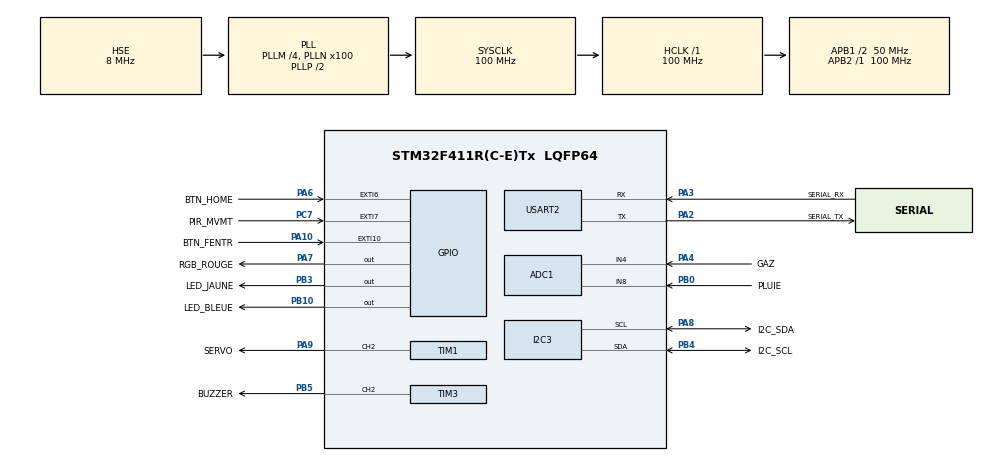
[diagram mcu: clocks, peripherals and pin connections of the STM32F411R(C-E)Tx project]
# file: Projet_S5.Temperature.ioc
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ADC1.Channel-0\#ChannelRegularConversion=ADC_CHANNEL_4
ADC1.Channel-1\#ChannelRegularConversion=ADC_CHANNEL_8
ADC1.DMAContinuousRequests=ENABLE
ADC1.ExternalTrigConv=ADC_EXTERNALTRIGCONV_T2_TRGO
ADC1.NbrOfConversion=2
ADC1.NbrOfConversionFlag=1
ADC1.Rank-0\#ChannelRegularConversion=1
ADC1.Rank-1\#ChannelRegularConversion=2
ADC1.SamplingTime-0\#ChannelRegularConversion=ADC_SAMPLETIME_3CYCLES
ADC1.SamplingTime-1\#ChannelRegularConversion=ADC_SAMPLETIME_3CYCLES
ADC1.ScanConvMode=ENABLE
ADC1.master=1
Dma.ADC1.0.Direction=DMA_PERIPH_TO_MEMORY
Dma.ADC1.0.FIFOMode=DMA_FIFOMODE_DISABLE
Dma.ADC1.0.Instance=DMA2_Stream0
Dma.ADC1.0.MemDataAlignment=DMA_MDATAALIGN_HALFWORD
Dma.ADC1.0.MemInc=DMA_MINC_ENABLE
Dma.ADC1.0.Mode=DMA_CIRCULAR
Dma.ADC1.0.PeriphDataAlignment=DMA_PDATAALIGN_HALFWORD
Dma.ADC1.0.PeriphInc=DMA_PINC_DISABLE
Dma.ADC1.0.Priority=DMA_PRIORITY_LOW
Dma.Request0=ADC1
Mcu.Family=STM32F4
Mcu.Name=STM32F411R(C-E)Tx
Mcu.Package=LQFP64
NVIC.ADC_IRQn=true\:0\:0\:false\:false\:true\:true\:true\:true
NVIC.DMA2_Stream0_IRQn=true\:0\:0\:false\:false\:true\:false\:true\:true
NVIC.EXTI15_10_IRQn=true\:0\:0\:false\:false\:true\:true\:true\:true
NVIC.EXTI9_5_IRQn=true\:0\:0\:false\:false\:true\:true\:true\:true
NVIC.PriorityGroup=NVIC_PRIORITYGROUP_4
NVIC.TIM2_IRQn=true\:0\:0\:false\:false\:true\:true\:true\:true
NVIC.TIM5_IRQn=true\:0\:0\:false\:false\:true\:true\:true\:true
PA10.GPIO_Label=BTN_FENTR
PA10.GPIO_ModeDefaultEXTI=GPIO_MODE_IT_RISING
PA10.GPIO_PuPd=GPIO_PULLDOWN
PA10.Signal=GPXTI10
PA13.Mode=Serial_Wire
PA13.Signal=SYS_JTMS-SWDIO
PA14.Mode=Serial_Wire
PA14.Signal=SYS_JTCK-SWCLK
PA2.GPIO_Label=SERIAL_TX
PA2.Mode=Asynchronous
PA2.Signal=USART2_TX
PA3.GPIO_Label=SERIAL_RX
PA3.Mode=Asynchronous
PA3.Signal=USART2_RX
PA4.GPIO_Label=GAZ
PA4.Signal=ADCx_IN4
PA6.GPIO_Label=BTN_HOME
PA6.GPIO_ModeDefaultEXTI=GPIO_MODE_IT_RISING
PA6.GPIO_PuPd=GPIO_PULLDOWN
PA6.Signal=GPXTI6
PA7.GPIO_Label=RGB_ROUGE
PA7.GPIO_PuPd=GPIO_NOPULL
PA7.Signal=GPIO_Output
PA8.GPIO_Label=I2C_SDA
PA8.Mode=I2C
PA8.Signal=I2C3_SCL
PA9.GPIO_Label=SERVO
PA9.Signal=S_TIM1_CH2
PB0.GPIO_Label=PLUIE
PB0.Signal=ADCx_IN8
PB10.GPIO_Label=LED_BLEUE
PB10.Signal=GPIO_Output
PB3.GPIO_Label=LED_JAUNE
PB3.GPIO_PuPd=GPIO_NOPULL
PB3.Signal=GPIO_Output
PB4.GPIO_Label=I2C_SCL
PB4.Mode=I2C
PB4.Signal=I2C3_SDA
PB5.GPIO_Label=BUZZER
PB5.Signal=S_TIM3_CH2
PC7.GPIO_Label=PIR_MVMT
PC7.GPIO_ModeDefaultEXTI=GPIO_MODE_IT_RISING
PC7.GPIO_PuPd=GPIO_PULLDOWN
PC7.Signal=GPXTI7
PH0\ -\ OSC_IN.Mode=HSE-External-Oscillator
PH0\ -\ OSC_IN.Signal=RCC_OSC_IN
PH1\ -\ OSC_OUT.Mode=HSE-External-Oscillator
PH1\ -\ OSC_OUT.Signal=RCC_OSC_OUT
ProjectManager.HeapSize=0x200
ProjectManager.StackSize=0x400
ProjectManager.TargetToolchain=STM32CubeIDE
RCC.48MHZClocksFreq_Value=50000000
RCC.AHBFreq_Value=100000000
RCC.APB1CLKDivider=RCC_HCLK_DIV2
RCC.APB1Freq_Value=50000000
RCC.APB1TimFreq_Value=100000000
RCC.APB2Freq_Value=100000000
RCC.APB2TimFreq_Value=100000000
RCC.CortexFreq_Value=100000000
RCC.HCLKFreq_Value=100000000
RCC.HSE_VALUE=8000000
RCC.HSI_VALUE=16000000
RCC.LSE_VALUE=32768
RCC.PLLM=4
RCC.PLLN=100
RCC.PLLSourceVirtual=RCC_PLLSOURCE_HSE
RCC.SYSCLKFreq_VALUE=100000000
RCC.SYSCLKSource=RCC_SYSCLKSOURCE_PLLCLK
RCC.VCOOutputFreq_Value=200000000
SH.ADCx_IN4.0=ADC1_IN4,IN4
SH.ADCx_IN8.0=ADC1_IN8,IN8
SH.S_TIM1_CH2.0=TIM1_CH2,PWM Generation2 CH2
SH.S_TIM3_CH2.0=TIM3_CH2,PWM Generation2 CH2
TIM1.Channel-PWM\ Generation2\ CH2=TIM_CHANNEL_2
TIM1.Period=50000-1
TIM1.Prescaler=40-1
TIM1.Pulse-PWM\ Generation2\ CH2=3750
TIM2.Period=20000-1
TIM2.Prescaler=10000-1
TIM2.TIM_MasterOutputTrigger=TIM_TRGO_UPDATE
TIM3.Channel-PWM\ Generation2\ CH2=TIM_CHANNEL_2
TIM3.OCMode_PWM-PWM\ Generation2\ CH2=TIM_OCMODE_PWM1
TIM3.Period=56818-1
TIM3.Prescaler=4-1
TIM3.Pulse-PWM\ Generation2\ CH2=28409
TIM5.Period=500-1
TIM5.Prescaler=10000-1
USART2.VirtualMode=VM_ASYNC
VP_TIM1_VS_ClockSourceINT.Mode=Internal
VP_TIM2_VS_ClockSourceINT.Mode=Internal
VP_TIM3_VS_ClockSourceINT.Mode=Internal
VP_TIM5_VS_ClockSourceINT.Mode=Internal
board=custom

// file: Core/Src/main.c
/* USER CODE BEGIN Header */
/**
  ******************************************************************************
  * @file           : main.c
  * @brief          : Main program body
  ******************************************************************************
  * @attention
  *
  * Copyright (c) 2026 STMicroelectronics.
  * All rights reserved.
  *
  * This software is licensed under terms that can be found in the LICENSE file
  * in the root directory of this software component.
  * If no LICENSE file comes with this software, it is provided AS-IS.
  *
  ******************************************************************************
  */
/* USER CODE END Header */
#include "main.h"
#include "adc.h"
#include "dma.h"
#include "i2c.h"
#include "tim.h"
#include "usart.h"
#include "gpio.h"

/* USER CODE BEGIN Includes */
#include <stdio.h>
#include "stdbool.h"
#include "tmp102.h"
/* USER CODE END Includes */

/* USER CODE BEGIN PTD */
typedef struct {
    GPIO_TypeDef *port;
    uint16_t pin;
    bool state;
} LED_t;
/* USER CODE END PTD */

/* USER CODE BEGIN PD */

// Liste des pins configurés
//  BTN_FENTR | D2  | PA_10 | EXTI 10 - Rising Edge | PULLUP   | 3V3
//  LED_JAUNE | D3  | PB_3  | GPIO OUTPUT           | NO       | 3V3
//  BUZZER    | D4  | PB_5  | TIMER 3 - CHANNEL 2   | NO       | 3V3
//  I2C_SDA   | D5  | PB_4  | I2C3 - SDA            | NO       | LCD+TEMP -> 5V
//  LED_BLEUE | D6  | PB_10 | GPIO OUTPUT           | NO       | 3V3
//  I2C_SCL   | D7  | PA_8  | I2C3 - SCL            | NO       | LCD+TEMP -> 5V
//  SERVO     | D8  | PA_9  | TIMER 1 - CHANNEL 2   | NO       | 5V
//  PIR_MVMT  | D9  | PC_7  | EXTI 7 - Rising Edge  | PULLDOWN | 3V3
//  RGB_STRIP | D10 | PB_6  | TIMER 4 - CHANNEL 1   | NO       | 5V
//  RGB_ROUGE | D11 | PA_7  | GPIO OUTPUT           | NO       | 3V3
//  BTN_HOME  | D12 | PA_6  | EXTI 6 - Rising Edge  | PULLDOWN | 3V3
//  GAZ       | A2  | PA_4  | ADC 1 - CHANNEL 4     | NO       | 5V
//  PLUIE     | A3  | PB_0  | ADC 1 - CHANNEL 8     | NO       | 5V

#define ADC_CAPTEURS    (&hadc1)
#define BUS_I2C         (&hi2c3)
#define TIMER_CAPTEURS  (&htim2)
#define TIMER_DEBOUNCE  (&htim5)
#define TIMER_SERVO     (&htim1)
#define CANAL_SERVO     TIM_CHANNEL_2
#define TIMER_BUZZER    (&htim3)
#define CANAL_BUZZER    TIM_CHANNEL_2

#define SEUIL_GAZ         2200
#define SEUIL_PLUIE       4000
#define SEUIL_CHALEUR     25
#define SEUIL_FROID       15
#define NBR_CAPTEURS_ADC  2
#define GAZ_ADC_RANK      0
#define PLUIE_ADC_RANK    1

#define FREQ_CYCLE_CAPTEURS 0.5
#define FREQ_CYCLE_DEBOUNCE 20

#define FREQ_TIMER_SERVO  2500000
#define FREQ_CYCLE_SERVO  50
#define SERVO_0_DEG_MS    0.5
#define SERVO_180_DEG_MS  2.5

#define FREQ_TIMER_BUZZER             25000000
#define FREQ_CYCLE_ALARME             FREQ_CYCLE_DEBOUNCE
#define FREQ_BLINK_ALARME_GAZ         10
#define FREQ_BLINK_ALARME_INTRUSION   2
#define FREQ_BUZZER_ALARME_GAZ        440
#define FREQ_BUZZER_ALARME_INTRUSION  384

// Maison
#define HOME                true
#define AWAY                false
// Fenetre
#define OUVERTE             true
#define FERMEE              false
#define ANGLE_SERVO_OUVERT  120 // ATTENTION maximum 120° sinon ça casse
#define ANGLE_SERVO_FERME   0   // Montage effectué avec 0° fenetre fermee

/* USER CODE END PD */

/* USER CODE BEGIN PV */
volatile LED_t  led_capteurs                = {LED_BLEUE_GPIO_Port, LED_BLEUE_Pin, false};
volatile LED_t  led_alarme_gaz              = {RGB_ROUGE_GPIO_Port, RGB_ROUGE_Pin, false};
volatile LED_t  led_alarme_intrusion        = {LED_JAUNE_GPIO_Port, LED_JAUNE_Pin, false};
volatile bool   buzzer                      = false;
volatile bool   fenetre                     = false;

volatile bool   debouncing_bouton_home      = false;
volatile bool   debouncing_bouton_fenetre   = false;
volatile bool   bouton_home_appuye          = false;
volatile bool   bouton_fenetre_appuye       = false;

volatile bool   timer_debounce_flag         = false;
volatile bool   timer_capteurs_flag         = false;
volatile bool   fin_mesure_ADC_flag         = false;
volatile int    blink_counter_alarm         = 0;

volatile bool   mode                        = HOME;
volatile bool   presence_detectee           = false;
volatile bool   pluie_detectee              = false;
volatile bool   alarme_intrusion            = false;
volatile bool   alarme_gaz                  = false;

volatile uint16_t adc_valeurs[NBR_CAPTEURS_ADC];
TMP102_t thermometre;
/* USER CODE END PV */

void SystemClock_Config(void);

/* USER CODE BEGIN 0 */

void initialiser_thermometre(void)
{
    TMP102_init_default(&thermometre);

    thermometre.busI2C                = BUS_I2C;
    thermometre.address               = TMP102_I2C_ADDR_GND;
    thermometre.config.Mode           = TMP102_MODE_SHUTDOWN;
    thermometre.config.ExtendedMode   = TMP102_EXTENDED_OFF;

    if (TMP102_apply_config(&thermometre)) {
        printf("Capteur TMP102 configuré\r\n");
    } else {
        printf("Erreur d'initialisation du capteur TMP102\r\n");
    }
}

void angle_servo(int angle)
{
	int pulse_tics =
  (
    (
      (angle / 180.0)
      *
      (SERVO_180_DEG_MS - SERVO_0_DEG_MS) / 1000.0
    )
    +
    (SERVO_0_DEG_MS / 1000.0)
  )
  * FREQ_TIMER_SERVO;

	__HAL_TIM_SET_COMPARE(TIMER_SERVO, CANAL_SERVO, pulse_tics);
}

void commande_fenetre()
{
	if (fenetre == OUVERTE){
		angle_servo(ANGLE_SERVO_OUVERT);
	}
	if (fenetre == FERMEE){
		angle_servo(ANGLE_SERVO_FERME);
	}
}

void commande_led()
{
  if (led_capteurs.state) {
    HAL_GPIO_WritePin(led_capteurs.port, led_capteurs.pin, 1);
  } else {
    HAL_GPIO_WritePin(led_capteurs.port, led_capteurs.pin, 0);
  }
  if (led_alarme_gaz.state) {
    HAL_GPIO_WritePin(led_alarme_gaz.port, led_alarme_gaz.pin, 1);
  } else {
    HAL_GPIO_WritePin(led_alarme_gaz.port, led_alarme_gaz.pin, 0);
  }
  if (led_alarme_intrusion.state) {
    HAL_GPIO_WritePin(led_alarme_intrusion.port, led_alarme_intrusion.pin, 1);
  } else {
    HAL_GPIO_WritePin(led_alarme_intrusion.port, led_alarme_intrusion.pin, 0);
  }
}

void commande_buzzer()
{
	if (buzzer) {
	  HAL_TIM_PWM_Start(TIMER_BUZZER, CANAL_BUZZER);
	} else {
	  HAL_TIM_PWM_Stop(TIMER_BUZZER, CANAL_BUZZER);
	}
}

void frequence_buzzer(int frequence)
{
	int periode_tics = (double)FREQ_TIMER_BUZZER/frequence;
	int pulse_tics   = periode_tics/2;
	__HAL_TIM_SET_AUTORELOAD(TIMER_BUZZER, periode_tics);
	__HAL_TIM_SET_COMPARE(TIMER_BUZZER, CANAL_BUZZER, pulse_tics);
}

void evaluer_gaz()
{
  int gaz_valeur = adc_valeurs[GAZ_ADC_RANK];
	if (gaz_valeur >= SEUIL_GAZ) {
    printf("Gaz detecte !\r\n");
		alarme_gaz = true;
	} else {
		alarme_gaz = false;
	}
  printf("                                      GAZ   = %d\r\n", gaz_valeur);
}

void evaluer_pluie()
{
  int pluie_valeur = adc_valeurs[PLUIE_ADC_RANK];
	if (pluie_valeur >= SEUIL_PLUIE) {
		printf("Pluie detecte !\r\n");
		pluie_detectee = true;
	} else {
		pluie_detectee = false;
	}
	printf("                                      PLUIE = %d\r\n", pluie_valeur);
}

void evaluer_temperature()
{
    float temperature;

    if (TMP102_get_temperature(&thermometre, &temperature))
    {
        printf("                                      TEMP  = %s°C\r\n", TMP102_temperature_to_string(temperature, 2));
    }
    else
    {
        printf("                                      TEMP  = ERREUR LECTURE\r\n");
    }

    if (temperature >= SEUIL_CHALEUR) {
      printf("Il fait chaud !\r\n");
    }
    if (temperature <= SEUIL_FROID) {
      printf("Il fait froid !\r\n");
    }
}
void debounce_filter()
{
	if (debouncing_bouton_home && !HAL_GPIO_ReadPin(BTN_HOME_GPIO_Port, BTN_HOME_Pin)) {
		bouton_home_appuye = true;
		debouncing_bouton_home = false;
	}

	if (debouncing_bouton_fenetre && !HAL_GPIO_ReadPin(BTN_FENTR_GPIO_Port, BTN_FENTR_Pin)) {
		bouton_fenetre_appuye = true;
		debouncing_bouton_fenetre = false;
	}
}

void update_cycle_alarme()
{
  // Aucune alarme
  if (!alarme_gaz && !alarme_intrusion) {
    buzzer = false;
    led_alarme_intrusion.state = false;
    led_alarme_gaz.state = false;
    blink_counter_alarm = 0;
    return;
  }

  blink_counter_alarm++;

  // Alarme GAZ
  if (alarme_gaz && !alarme_intrusion) {
    frequence_buzzer(FREQ_BUZZER_ALARME_GAZ);
    led_alarme_intrusion.state = false;

    if (blink_counter_alarm >= FREQ_CYCLE_ALARME / (2 * FREQ_BLINK_ALARME_GAZ)) {
      led_alarme_gaz.state = !led_alarme_gaz.state;
      buzzer = led_alarme_gaz.state;
      blink_counter_alarm = 0;
    }
  }

  // Alarme INTRUSION
  else if (!alarme_gaz && alarme_intrusion) {
    frequence_buzzer(FREQ_BUZZER_ALARME_INTRUSION);
    led_alarme_gaz.state = false;

    if (blink_counter_alarm >= FREQ_CYCLE_ALARME / (2 * FREQ_BLINK_ALARME_INTRUSION)) {
      led_alarme_intrusion.state = !led_alarme_intrusion.state;
      buzzer = led_alarme_intrusion.state;
      blink_counter_alarm = 0;
    }
  }

  // Alarme GAZ + INTRUSION
  else if (alarme_gaz && alarme_intrusion) {
    int half_period_intrusion = FREQ_CYCLE_ALARME / (2 * FREQ_BLINK_ALARME_INTRUSION);
    int full_period_intrusion = FREQ_CYCLE_ALARME / FREQ_BLINK_ALARME_INTRUSION;
    int half_period_gaz = FREQ_CYCLE_ALARME / (2 * FREQ_BLINK_ALARME_GAZ);

    // alarme intrusion en continu, alarme gaz eteinte
    if (blink_counter_alarm <= half_period_intrusion) {
      frequence_buzzer(FREQ_BUZZER_ALARME_INTRUSION);
      led_alarme_gaz.state = false;

      led_alarme_intrusion.state = true;
      buzzer = true;
    // alarme gaz clignote, alarme intrusion eteinte
    } else {
      frequence_buzzer(FREQ_BUZZER_ALARME_GAZ);
      led_alarme_intrusion.state = false;

      if ((blink_counter_alarm - half_period_intrusion) % half_period_gaz == 0) {
        led_alarme_gaz.state = !led_alarme_gaz.state;
        buzzer = led_alarme_gaz.state;
      }
    }

    // fin periode alarme intrusion
    if (blink_counter_alarm >= full_period_intrusion) {
      blink_counter_alarm = 0;
      led_alarme_gaz.state = false;
    }
  }
}
/* USER CODE END 0 */

int main(void)
{

  /* MCU Configuration--------------------------------------------------------*/

  /* Reset of all peripherals, Initializes the Flash interface and the Systick. */
  HAL_Init();

  /* Configure the system clock */
  SystemClock_Config();

  /* Initialize all configured peripherals */
  MX_GPIO_Init();
  MX_DMA_Init();
  MX_TIM2_Init();
  MX_TIM3_Init();
  MX_TIM5_Init();
  MX_ADC1_Init();
  MX_USART2_UART_Init();
  MX_TIM1_Init();
  MX_I2C3_Init();
  /* USER CODE BEGIN 2 */
  HAL_TIM_Base_Start_IT(TIMER_DEBOUNCE);
  HAL_TIM_Base_Start_IT(TIMER_CAPTEURS);
  HAL_TIM_PWM_Start(TIMER_BUZZER, CANAL_BUZZER);
  HAL_TIM_PWM_Start(TIMER_SERVO, CANAL_SERVO);
  HAL_ADC_Start_DMA(ADC_CAPTEURS, (uint32_t*)adc_valeurs, NBR_CAPTEURS_ADC);

  initialiser_thermometre();

  printf("\r\n--- Demarrage Systeme STM32 ---\r\n\n");
  printf("Seuil gaz configure: %d\r\n", SEUIL_GAZ);
  printf("Frequence clignotement alarme gaz: %d Hz\r\n", FREQ_BLINK_ALARME_GAZ);
  printf("Frequence clignotement alarme intrusion: %d Hz\r\n", FREQ_BLINK_ALARME_INTRUSION);
  printf("Periode echantillonnage capteurs: %d s\r\n", (int)(1/FREQ_CYCLE_CAPTEURS));
  printf("Periode debounce bouton: %d ms\r\n", (int)(1000/FREQ_CYCLE_DEBOUNCE));
  printf("\r\n");

  /* USER CODE END 2 */

  /* Infinite loop */
  while (1)
  {

    /* USER CODE BEGIN 3 */

    // Machine à état avec HOME et AWAY
    if (mode == HOME)
    {
      if      (bouton_home_appuye)
      {
        bouton_home_appuye = false;
        mode = AWAY;
        fenetre = false;
        printf("Je sors de la maison\r\n");
      }
      else if (pluie_detectee)
      {
        fenetre = false;
    	  bouton_fenetre_appuye = false;
      }
      else
      {
        if (bouton_fenetre_appuye)
        {
          bouton_fenetre_appuye = false;
          if      (fenetre == OUVERTE)
          {
            fenetre = FERMEE;
            printf("Je ferme la fenetre\r\n");
          }
          else if (fenetre == FERMEE)
          {
            fenetre = OUVERTE;
            printf("J'ouvre la fenetre\r\n");
          }
        }
        alarme_intrusion = false;
      }
    }

    if ( mode == AWAY)
    {
    	bouton_fenetre_appuye = false;
      if      (bouton_home_appuye)
      {
        bouton_home_appuye = false;
        mode = HOME;
        printf("Je rentre à la maison\r\n");
      }
      else if (presence_detectee)
      {
        alarme_intrusion = true;
        presence_detectee = false;
        printf("Intrusion detectee !\r\n");
      }
    }

    // en continu
    if (timer_debounce_flag) {
    	timer_debounce_flag = false;
      debounce_filter();
      update_cycle_alarme();
    }
    if (timer_capteurs_flag) {
      timer_capteurs_flag = false;
      led_capteurs.state = !led_capteurs.state;
      // Lancement des mesures ADC automatique (TGO event TIMER)
      if (!TMP102_start_measure(&thermometre)) {
        printf("Erreur lors du demarrage de la mesure TMP102 en mode One-Shot\r\n");
      }
    }
    if (fin_mesure_ADC_flag){
      fin_mesure_ADC_flag = false;
      evaluer_pluie();
      evaluer_gaz();
    }
    if (TMP102_is_measure_ready(&thermometre)) {
      evaluer_temperature();
      printf("\r\n"); // saut à la ligne apres la derniere mesure
    }
    commande_buzzer();
    commande_led();
    commande_fenetre();
	}

  /* USER CODE END 3 */
}

void SystemClock_Config(void)
{
  RCC_OscInitTypeDef RCC_OscInitStruct = {0};
  RCC_ClkInitTypeDef RCC_ClkInitStruct = {0};

  /** Configure the main internal regulator output voltage
  */
  __HAL_RCC_PWR_CLK_ENABLE();
  __HAL_PWR_VOLTAGESCALING_CONFIG(PWR_REGULATOR_VOLTAGE_SCALE1);

  /** Initializes the RCC Oscillators according to the specified parameters
  * in the RCC_OscInitTypeDef structure.
  */
  RCC_OscInitStruct.OscillatorType = RCC_OSCILLATORTYPE_HSE;
  RCC_OscInitStruct.HSEState = RCC_HSE_ON;
  RCC_OscInitStruct.PLL.PLLState = RCC_PLL_ON;
  RCC_OscInitStruct.PLL.PLLSource = RCC_PLLSOURCE_HSE;
  RCC_OscInitStruct.PLL.PLLM = 4;
  RCC_OscInitStruct.PLL.PLLN = 100;
  RCC_OscInitStruct.PLL.PLLP = RCC_PLLP_DIV2;
  RCC_OscInitStruct.PLL.PLLQ = 4;
  if (HAL_RCC_OscConfig(&RCC_OscInitStruct) != HAL_OK)
  {
    Error_Handler();
  }

  /** Initializes the CPU, AHB and APB buses clocks
  */
  RCC_ClkInitStruct.ClockType = RCC_CLOCKTYPE_HCLK|RCC_CLOCKTYPE_SYSCLK
                              |RCC_CLOCKTYPE_PCLK1|RCC_CLOCKTYPE_PCLK2;
  RCC_ClkInitStruct.SYSCLKSource = RCC_SYSCLKSOURCE_PLLCLK;
  RCC_ClkInitStruct.AHBCLKDivider = RCC_SYSCLK_DIV1;
  RCC_ClkInitStruct.APB1CLKDivider = RCC_HCLK_DIV2;
  RCC_ClkInitStruct.APB2CLKDivider = RCC_HCLK_DIV1;

  if (HAL_RCC_ClockConfig(&RCC_ClkInitStruct, FLASH_LATENCY_3) != HAL_OK)
  {
    Error_Handler();
  }
}

/* USER CODE BEGIN 4 */

// Redirection du printf vers USART2
int __io_putchar(int ch) {
    HAL_UART_Transmit(&huart2, (uint8_t *)&ch, 1, HAL_MAX_DELAY);
    return ch;
}

// INterruption des GPIO
void HAL_GPIO_EXTI_Callback(uint16_t GPIO_Pin)
{
	if (GPIO_Pin == PIR_MVMT_Pin)
  {
    if (mode == AWAY){
      presence_detectee = true;
		}
	}
  if (GPIO_Pin == BTN_HOME_Pin)
  {
    if (!debouncing_bouton_home) {
      debouncing_bouton_home = true;
      __HAL_TIM_SET_COUNTER(TIMER_DEBOUNCE, 0);
    }
  }
	if (GPIO_Pin == BTN_FENTR_Pin)
  {
		if (!debouncing_bouton_fenetre) {
			debouncing_bouton_fenetre = true;
			__HAL_TIM_SET_COUNTER(TIMER_DEBOUNCE, 0);
		}
	}
}

void HAL_TIM_PeriodElapsedCallback(TIM_HandleTypeDef *htim)
{
  if (htim == TIMER_DEBOUNCE)
  {
	  timer_debounce_flag = true;
  }
  if (htim == TIMER_CAPTEURS)
  {
    timer_capteurs_flag = true;
  }
}

void HAL_ADC_ConvCpltCallback(ADC_HandleTypeDef* hadc)
{
    if (hadc == ADC_CAPTEURS)
    {
        fin_mesure_ADC_flag = true;
    }
}
/* USER CODE END 4 */

void Error_Handler(void)
{
  __disable_irq();
  while (1)
  {
  }
}
